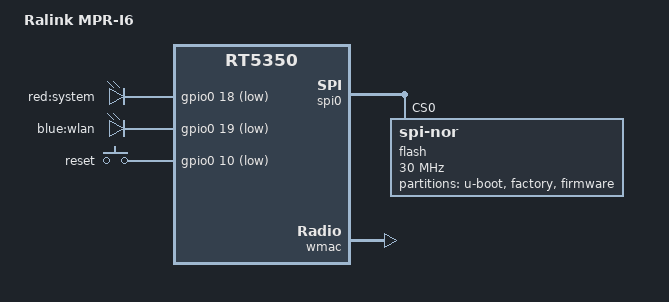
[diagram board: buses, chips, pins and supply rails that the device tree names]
// SPDX-License-Identifier: GPL-2.0-or-later OR MIT

/dts-v1/;

#include "rt5350.dtsi"

#include <dt-bindings/gpio/gpio.h>
#include <dt-bindings/input/input.h>

/ {
	model = "Ralink MPR-I6";
	compatible = "ralink,mpr-i6", "ralink,rt5350-soc";

	aliases {
		led-boot = &led_system;
		led-failsafe = &led_system;
		led-running = &led_system;
		led-upgrade = &led_system;
	};

	leds {
		compatible = "gpio-leds";
 
		led_system: system {
			label = "red:system";
			gpios = <&gpio0 18 GPIO_ACTIVE_LOW>;
		};

		wlan {
			label = "blue:wlan";
			gpios = <&gpio0 19 GPIO_ACTIVE_LOW>;
			linux,default-trigger = "phy0tpt";
		};
	};

	keys {
		compatible = "gpio-keys";

		reset {
			label = "reset";
			linux,code = <KEY_RESTART>;
			gpios = <&gpio0 10 GPIO_ACTIVE_LOW>;
		};
	};
};

&spi0 {
	status = "okay";

	flash@0 {
		compatible = "jedec,spi-nor";
		reg = <0>;
		spi-max-frequency = <30000000>;

		partitions {
			compatible = "fixed-partitions";
			#address-cells = <1>;
			#size-cells = <1>;

			partition@0 {
				label = "u-boot";
				reg = <0x0 0x1f000>;
				read-only;
			};

			factory: partition@1f000 {
				label = "factory";
				reg = <0x1f000 0x1000>;
				read-only;
			};

			partition@20000 {
				compatible = "denx,uimage";
				label = "firmware";
				reg = <0x20000 0x3e0000>;
			};
		};
	};
};

&state_default {
	gpio {
		ralink,group = "jtag", "uartf";
		ralink,function = "gpio";
	};
};

&ethernet {
	mtd-mac-address = <&factory 0x28>;
};

&esw {
	mediatek,portmap = <0x2f>;
	mediatek,portdisable = <0x2f>;
};

&wmac {
	ralink,mtd-eeprom = <&factory 0x0>;
};
